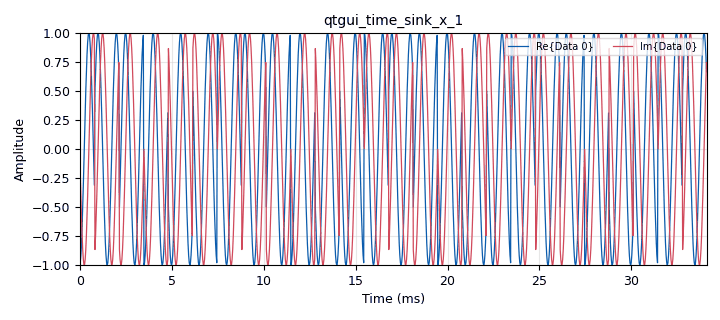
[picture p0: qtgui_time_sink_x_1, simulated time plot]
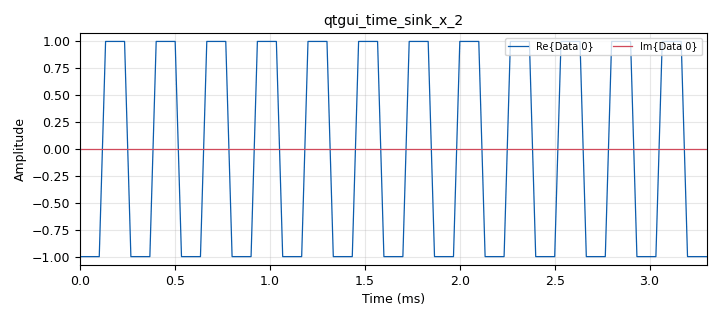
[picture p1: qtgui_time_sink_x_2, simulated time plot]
<?xml version='1.0' encoding='utf-8'?>
<?grc format='1' created='3.7.11'?>
<flow_graph>
<block>
<key>options</key>
<param><key>id</key><value>top_block</value></param>
<param><key>generate_options</key><value>qt_gui</value></param>
</block>
<block>
<key>variable</key>
<param><key>id</key><value>samp_rate</value></param>
<param><key>value</key><value>30000</value></param>
</block>
<block>
<key>analog_random_source_x</key>
<param><key>id</key><value>analog_random_source_x_0</value></param>
<param><key>max</key><value>2</value></param>
<param><key>min</key><value>0</value></param>
<param><key>num_samps</key><value>1000</value></param>
<param><key>type</key><value>int</value></param>
<param><key>repeat</key><value>True</value></param>
</block>
<block>
<key>analog_sig_source_x</key>
<param><key>id</key><value>analog_sig_source_x_0</value></param>
<param><key>amp</key><value>1</value></param>
<param><key>freq</key><value>1000</value></param>
<param><key>offset</key><value>0</value></param>
<param><key>type</key><value>complex</value></param>
<param><key>samp_rate</key><value>samp_rate</value></param>
<param><key>waveform</key><value>analog.GR_COS_WAVE</value></param>
</block>
<block>
<key>blocks_multiply_xx</key>
<param><key>id</key><value>blocks_multiply_xx_0</value></param>
<param><key>type</key><value>complex</value></param>
</block>
<block>
<key>blocks_repeat</key>
<param><key>id</key><value>blocks_repeat_0</value></param>
<param><key>interp</key><value>10</value></param>
<param><key>type</key><value>complex</value></param>
</block>
<block>
<key>blocks_vector_source_x</key>
<param><key>id</key><value>blocks_vector_source_x_0</value></param>
<param><key>type</key><value>complex</value></param>
<param><key>repeat</key><value>True</value></param>
<param><key>vector</key><value>(0, 0, 0,0)</value></param>
</block>
<block>
<key>blocks_vector_source_x</key>
<param><key>id</key><value>blocks_vector_source_x_1</value></param>
<param><key>type</key><value>complex</value></param>
<param><key>repeat</key><value>True</value></param>
<param><key>vector</key><value>(1, 1,1,1,-1,-1,-1,-1)</value></param>
</block>
<block>
<key>qtgui_time_sink_x</key>
<param><key>id</key><value>qtgui_time_sink_x_1</value></param>
<param><key>color1</key><value>"blue"</value></param>
<param><key>label1</key><value></value></param>
<param><key>color2</key><value>"red"</value></param>
<param><key>label2</key><value></value></param>
<param><key>size</key><value>1024</value></param>
<param><key>srate</key><value>samp_rate</value></param>
<param><key>type</key><value>complex</value></param>
</block>
<block>
<key>qtgui_time_sink_x</key>
<param><key>id</key><value>qtgui_time_sink_x_2</value></param>
<param><key>color1</key><value>"blue"</value></param>
<param><key>label1</key><value></value></param>
<param><key>color2</key><value>"red"</value></param>
<param><key>label2</key><value></value></param>
<param><key>size</key><value>100</value></param>
<param><key>srate</key><value>samp_rate</value></param>
<param><key>type</key><value>complex</value></param>
</block>
<connection><source_block_id>analog_sig_source_x_0</source_block_id><sink_block_id>blocks_multiply_xx_0</sink_block_id><source_key>0</source_key><sink_key>1</sink_key></connection>
<connection><source_block_id>blocks_multiply_xx_0</source_block_id><sink_block_id>qtgui_time_sink_x_1</sink_block_id><source_key>0</source_key><sink_key>0</sink_key></connection>
<connection><source_block_id>blocks_repeat_0</source_block_id><sink_block_id>blocks_multiply_xx_0</sink_block_id><source_key>0</source_key><sink_key>0</sink_key></connection>
<connection><source_block_id>blocks_vector_source_x_1</source_block_id><sink_block_id>blocks_repeat_0</sink_block_id><source_key>0</source_key><sink_key>0</sink_key></connection>
<connection><source_block_id>blocks_vector_source_x_1</source_block_id><sink_block_id>qtgui_time_sink_x_2</sink_block_id><source_key>0</source_key><sink_key>0</sink_key></connection>
</flow_graph>
